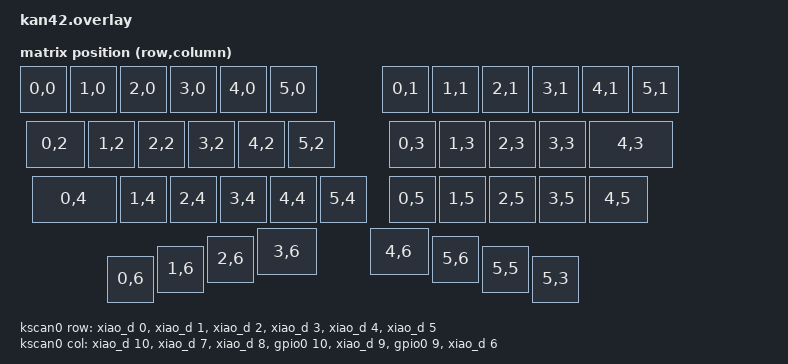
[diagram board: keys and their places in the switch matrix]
#include <dt-bindings/zmk/matrix_transform.h>
#include <physical_layouts.dtsi>

/ {
    chosen {
        zmk,physical-layout = &physical_layout0;
    };

    physical_layout0: physical_layout_0 {
        compatible = "zmk,physical-layout";
        display-name = "Default Layout";
        kscan = <&kscan0>;
        transform = <&default_transform>;
        keys  //                     w    h     x    y    rot   rx   ry
            = <&key_physical_attrs 100  100     0    0      0    0    0>
            , <&key_physical_attrs 100  100   100    0      0    0    0>
            , <&key_physical_attrs 100  100   200    0      0    0    0>
            , <&key_physical_attrs 100  100   300    0      0    0    0>
            , <&key_physical_attrs 100  100   400    0      0    0    0>
            , <&key_physical_attrs 100  100   500    0      0    0    0>
            , <&key_physical_attrs 100  100   725    0      0    0    0>
            , <&key_physical_attrs 100  100   825    0      0    0    0>
            , <&key_physical_attrs 100  100   925    0      0    0    0>
            , <&key_physical_attrs 100  100  1025    0      0    0    0>
            , <&key_physical_attrs 100  100  1125    0      0    0    0>
            , <&key_physical_attrs 100  100  1225    0      0    0    0>
            , <&key_physical_attrs 125  100    12  110      0    0    0>
            , <&key_physical_attrs 100  100   137  110      0    0    0>
            , <&key_physical_attrs 100  100   237  110      0    0    0>
            , <&key_physical_attrs 100  100   337  110      0    0    0>
            , <&key_physical_attrs 100  100   437  110      0    0    0>
            , <&key_physical_attrs 100  100   537  110      0    0    0>
            , <&key_physical_attrs 100  100   738  110      0    0    0>
            , <&key_physical_attrs 100  100   838  110      0    0    0>
            , <&key_physical_attrs 100  100   938  110      0    0    0>
            , <&key_physical_attrs 100  100  1038  110      0    0    0>
            , <&key_physical_attrs 175  100  1138  110      0    0    0>
            , <&key_physical_attrs 175  100    25  220      0    0    0>
            , <&key_physical_attrs 100  100   200  220      0    0    0>
            , <&key_physical_attrs 100  100   300  220      0    0    0>
            , <&key_physical_attrs 100  100   400  220      0    0    0>
            , <&key_physical_attrs 100  100   500  220      0    0    0>
            , <&key_physical_attrs 100  100   600  220      0    0    0>
            , <&key_physical_attrs 100  100   738  220      0    0    0>
            , <&key_physical_attrs 100  100   838  220      0    0    0>
            , <&key_physical_attrs 100  100   938  220      0    0    0>
            , <&key_physical_attrs 100  100  1038  220      0    0    0>
            , <&key_physical_attrs 125  100  1138  220      0    0    0>
            , <&key_physical_attrs 100  100   175  380      0    0    0>
            , <&key_physical_attrs 100  100   275  360      0    0    0>
            , <&key_physical_attrs 100  100   375  340      0    0    0>
            , <&key_physical_attrs 125  100   475  325      0    0    0>
            , <&key_physical_attrs 125  100   700  325      0    0    0>
            , <&key_physical_attrs 100  100   825  340      0    0    0>
            , <&key_physical_attrs 100  100   925  360      0    0    0>
            , <&key_physical_attrs 100  100  1025  380      0    0    0>
            ;
    };

    default_transform: keymap_transform0 {
        compatible = "zmk,matrix-transform";
        rows = <6>;
        columns = <7>;
        map = <
            RC(0,0) RC(1,0) RC(2,0) RC(3,0) RC(4,0) RC(5,0)    RC(0,1) RC(1,1) RC(2,1) RC(3,1) RC(4,1) RC(5,1)
              RC(0,2) RC(1,2) RC(2,2) RC(3,2) RC(4,2) RC(5,2)    RC(0,3) RC(1,3) RC(2,3) RC(3,3) RC(4,3)
                RC(0,4) RC(1,4) RC(2,4) RC(3,4) RC(4,4) RC(5,4)    RC(0,5) RC(1,5) RC(2,5) RC(3,5) RC(4,5)
                   RC(0,6) RC(1,6) RC(2,6) RC(3,6) RC(4,6) RC(5,6)    RC(5,5) RC(5,3)
        >;
    };

    kscan0: kscan {
        compatible = "zmk,kscan-gpio-matrix";
        diode-direction = "col2row";
        row-gpios
            = <&xiao_d 0 (GPIO_ACTIVE_HIGH | GPIO_PULL_DOWN)>
            , <&xiao_d 1 (GPIO_ACTIVE_HIGH | GPIO_PULL_DOWN)>
            , <&xiao_d 2 (GPIO_ACTIVE_HIGH | GPIO_PULL_DOWN)>
            , <&xiao_d 3 (GPIO_ACTIVE_HIGH | GPIO_PULL_DOWN)>
            , <&xiao_d 4 (GPIO_ACTIVE_HIGH | GPIO_PULL_DOWN)>
            , <&xiao_d 5 (GPIO_ACTIVE_HIGH | GPIO_PULL_DOWN)>
            ;
        col-gpios
            = <&xiao_d 10 GPIO_ACTIVE_HIGH>
            , <&xiao_d 7 GPIO_ACTIVE_HIGH>
            , <&xiao_d 8 GPIO_ACTIVE_HIGH>
            , <&gpio0 10 GPIO_ACTIVE_HIGH>
            , <&xiao_d 9 GPIO_ACTIVE_HIGH>
            , <&gpio0 9 GPIO_ACTIVE_HIGH>
            , <&xiao_d 6 GPIO_ACTIVE_HIGH>
            ;
    };
};
